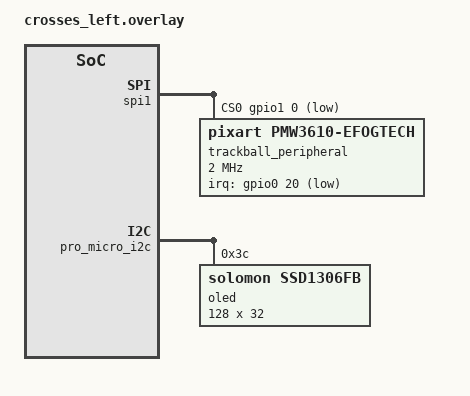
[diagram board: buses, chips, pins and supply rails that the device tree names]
/*
 * Copyright (c) 2025 Vincent Franco
 * SPDX-License-Identifier: MIT
 */

#include "crosses.dtsi"
#include <zephyr/dt-bindings/input/input-event-codes.h>

&kscan0 {
  col-gpios
    = <&pro_micro 0 GPIO_ACTIVE_HIGH>
    , <&pro_micro 18 GPIO_ACTIVE_HIGH>
    , <&pro_micro 15 GPIO_ACTIVE_HIGH>
    , <&pro_micro 10 GPIO_ACTIVE_HIGH>
    , <&pro_micro 16 GPIO_ACTIVE_HIGH>
    , <&pro_micro 14 GPIO_ACTIVE_HIGH>
    ;
};

&spi1 {
  cs-gpios = <&gpio1 0 GPIO_ACTIVE_LOW>;

  trackball_peripheral: trackball_peripheral@0 {
    status = "okay";
    compatible = "pixart,pmw3610-efogtech";
    reg = <0>;
    spi-max-frequency = <2000000>;
    irq-gpios = <&gpio0 20 (GPIO_ACTIVE_LOW | GPIO_PULL_UP)>;
    cpi = <700>;
    xy-swap;
    evt-type = <INPUT_EV_REL>;
    x-input-code = <INPUT_REL_X>;
    y-input-code = <INPUT_REL_Y>;
    force-awake;
    /* keep the sensor awake while ZMK activity state is ACTIVE,
        fallback to normal downshift mode after ZMK goes into IDLE / SLEEP mode.
        thus, the sensor would be a `wakeup-source` */
  };
};

// Overrides for the input-split child node
&trackball_peripheral_split {
  device = <&trackball_peripheral>;
  input-processors
    = <&zip_xy_to_scroll_mapper>
		, <&zip_ble_report_rate_limit>;
};

&pro_micro_i2c {
    status = "okay";

    oled: ssd1306@3c {
        compatible = "solomon,ssd1306fb";
        reg = <0x3c>;
        width = <128>;
        height = <32>;
        segment-offset = <0>;
        page-offset = <0>;
        display-offset = <0>;
        multiplex-ratio = <31>;
        com-sequential;
        inversion-on;
        prechargep = <0x22>;
    };
};
